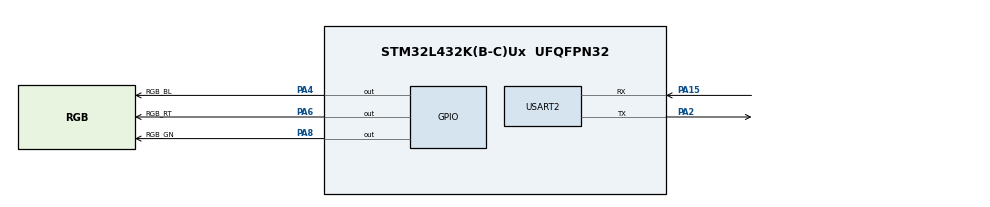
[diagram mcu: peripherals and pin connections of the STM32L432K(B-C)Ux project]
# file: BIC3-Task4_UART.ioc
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Mcu.Family=STM32L4
Mcu.Name=STM32L432K(B-C)Ux
Mcu.Package=UFQFPN32
NVIC.PriorityGroup=NVIC_PRIORITYGROUP_4
NVIC.USART2_IRQn=true\:0\:0\:false\:false\:true\:true\:true
PA15\ (JTDI).Mode=Asynchronous
PA15\ (JTDI).Signal=USART2_RX
PA2.Mode=Asynchronous
PA2.Signal=USART2_TX
PA4.GPIO_Label=RGB_BL
PA4.Signal=GPIO_Output
PA6.GPIO_Label=RGB_RT
PA6.Signal=GPIO_Output
PA8.GPIO_Label=RGB_GN
PA8.Signal=GPIO_Output
ProjectManager.HeapSize=0x200
ProjectManager.StackSize=0x400
ProjectManager.TargetToolchain=STM32CubeIDE
RCC.HSE_VALUE=8000000
RCC.HSI48_VALUE=48000000
RCC.HSI_VALUE=16000000
RCC.LSE_VALUE=32768
RCC.MSI_VALUE=4000000
RCC.VCOOutputFreq_Value=32000000
USART2.VirtualMode-Asynchronous=VM_ASYNC
board=custom

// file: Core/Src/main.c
/* USER CODE BEGIN Header */
/**
  ******************************************************************************
  * @file           : main.c
  * @brief          : Main program body
  ******************************************************************************
  * @attention
  *
  * <h2><center>&copy; Copyright (c) 2021 STMicroelectronics.
  * All rights reserved.</center></h2>
  *
  * This software component is licensed by ST under BSD 3-Clause license,
  * the "License"; You may not use this file except in compliance with the
  * License. You may obtain a copy of the License at:
  *                        opensource.org/licenses/BSD-3-Clause
  *
  ******************************************************************************
  */
/* USER CODE END Header */
#include "main.h"

/* USER CODE BEGIN Includes */
#include "string.h"
#include "mylib_serialprot.h"
/* USER CODE END Includes */

/* USER CODE BEGIN PD */
#define RxBuffer_SIZE 1
/* USER CODE END PD */

UART_HandleTypeDef huart2;

/* USER CODE BEGIN PV */
SERIALPROTOCOL_TypeDef hserialprot;

// Deklarieren und initialisieren des Ein-Zeichen-Empfangsbuffers
uint8_t RxBuffer[RxBuffer_SIZE]={0};
/* USER CODE END PV */

void SystemClock_Config(void);
static void MX_GPIO_Init(void);
static void MX_USART2_UART_Init(void);

int main(void)
{

  /* MCU Configuration--------------------------------------------------------*/

  /* Reset of all peripherals, Initializes the Flash interface and the Systick. */
  HAL_Init();

  /* Configure the system clock */
  SystemClock_Config();

  /* Initialize all configured peripherals */
  MX_GPIO_Init();
  MX_USART2_UART_Init();
  /* USER CODE BEGIN 2 */
  HAL_UART_Receive_IT(&huart2, RxBuffer, RxBuffer_SIZE);

  HAL_GPIO_WritePin(RGB_BL_GPIO_Port, RGB_BL_Pin, GPIO_PIN_SET);
  HAL_GPIO_WritePin(RGB_RT_GPIO_Port, RGB_RT_Pin, GPIO_PIN_SET);
  HAL_GPIO_WritePin(RGB_GN_GPIO_Port, RGB_GN_Pin, GPIO_PIN_SET);

  /* USER CODE END 2 */

  /* Infinite loop */
  while (1)
  {

  }
}

void SystemClock_Config(void)
{
  RCC_OscInitTypeDef RCC_OscInitStruct = {0};
  RCC_ClkInitTypeDef RCC_ClkInitStruct = {0};

  /** Configure the main internal regulator output voltage
  */
  if (HAL_PWREx_ControlVoltageScaling(PWR_REGULATOR_VOLTAGE_SCALE1) != HAL_OK)
  {
    Error_Handler();
  }
  /** Initializes the RCC Oscillators according to the specified parameters
  * in the RCC_OscInitTypeDef structure.
  */
  RCC_OscInitStruct.OscillatorType = RCC_OSCILLATORTYPE_MSI;
  RCC_OscInitStruct.MSIState = RCC_MSI_ON;
  RCC_OscInitStruct.MSICalibrationValue = 0;
  RCC_OscInitStruct.MSIClockRange = RCC_MSIRANGE_6;
  RCC_OscInitStruct.PLL.PLLState = RCC_PLL_NONE;
  if (HAL_RCC_OscConfig(&RCC_OscInitStruct) != HAL_OK)
  {
    Error_Handler();
  }
  /** Initializes the CPU, AHB and APB buses clocks
  */
  RCC_ClkInitStruct.ClockType = RCC_CLOCKTYPE_HCLK|RCC_CLOCKTYPE_SYSCLK
                              |RCC_CLOCKTYPE_PCLK1|RCC_CLOCKTYPE_PCLK2;
  RCC_ClkInitStruct.SYSCLKSource = RCC_SYSCLKSOURCE_MSI;
  RCC_ClkInitStruct.AHBCLKDivider = RCC_SYSCLK_DIV1;
  RCC_ClkInitStruct.APB1CLKDivider = RCC_HCLK_DIV1;
  RCC_ClkInitStruct.APB2CLKDivider = RCC_HCLK_DIV1;

  if (HAL_RCC_ClockConfig(&RCC_ClkInitStruct, FLASH_LATENCY_0) != HAL_OK)
  {
    Error_Handler();
  }
}

static void MX_USART2_UART_Init(void)
{

  huart2.Instance = USART2;
  huart2.Init.BaudRate = 115200;
  huart2.Init.WordLength = UART_WORDLENGTH_8B;
  huart2.Init.StopBits = UART_STOPBITS_1;
  huart2.Init.Parity = UART_PARITY_NONE;
  huart2.Init.Mode = UART_MODE_TX_RX;
  huart2.Init.HwFlowCtl = UART_HWCONTROL_NONE;
  huart2.Init.OverSampling = UART_OVERSAMPLING_16;
  huart2.Init.OneBitSampling = UART_ONE_BIT_SAMPLE_DISABLE;
  huart2.AdvancedInit.AdvFeatureInit = UART_ADVFEATURE_NO_INIT;
  if (HAL_UART_Init(&huart2) != HAL_OK)
  {
    Error_Handler();
  }

}

static void MX_GPIO_Init(void)
{
  GPIO_InitTypeDef GPIO_InitStruct = {0};

  /* GPIO Ports Clock Enable */
  __HAL_RCC_GPIOA_CLK_ENABLE();

  /*Configure GPIO pin Output Level */
  HAL_GPIO_WritePin(GPIOA, RGB_BL_Pin|RGB_RT_Pin|RGB_GN_Pin, GPIO_PIN_RESET);

  /*Configure GPIO pins : RGB_BL_Pin RGB_RT_Pin RGB_GN_Pin */
  GPIO_InitStruct.Pin = RGB_BL_Pin|RGB_RT_Pin|RGB_GN_Pin;
  GPIO_InitStruct.Mode = GPIO_MODE_OUTPUT_PP;
  GPIO_InitStruct.Pull = GPIO_NOPULL;
  GPIO_InitStruct.Speed = GPIO_SPEED_FREQ_LOW;
  HAL_GPIO_Init(GPIOA, &GPIO_InitStruct);

}

/* USER CODE BEGIN 4 */

/* UART-Callback wird nach jedem Zeichen aufgerufen */
void HAL_UART_RxCpltCallback(UART_HandleTypeDef *huart)
{
	/* Nachrichtenbuffer für die Konsolen-Nachricht */
	uint8_t exchangedMessage[50] ={0};

	/*
	 * MYLIB_SERIALPROT_XCHANGE -> Verarbeitet die eingegebenen Zeichen des UART und gibt das demenstspechende Ergebnis/Nachricht zurück
	 * hserialprot -> Objekt des Seriellen Protokolls
	 * RxBuffer -> Ein-Zeichen-Empfangspuffer
	 * exchangedMessage -> zurückgegebene Nachricht aufgrund der Eingaben von Rx bzw. auf der Konsole
	 * Die Verarbeitung erfolgt in der MyLibrary/mylib_serialprot-Bibliothek
	 */
	MYLIB_SERIALPROT_XCHANGE(&hserialprot,RxBuffer,exchangedMessage);

	/* exchangedMessage an Putty/Konsole senden */
	if(HAL_UART_Transmit(&huart2, exchangedMessage,(uint16_t)strlen(exchangedMessage), 100)!= HAL_OK){Error_Handler();}

	/* UART_Receive Interrupt aktivieren */
	if(HAL_UART_Receive_IT(&huart2, RxBuffer, RxBuffer_SIZE)!= HAL_OK){Error_Handler();}
}

/* Callback für GPIO-Commands, welche der User selbst definieren kann */
uint8_t SERIALPROT_Command_GPO_Callback(SERIALPROTOCOL_TypeDef *hserialprot)
{
	uint8_t ret=1;

	/* Prüfen ob das Kommando "gpo" mit dem Parameter 1 "gn" und dem Parameter 2 "on" eingegeben wurde um die blaue LED einzuschalten */
	if(__SERIALPROT_IS_COMMAND(hserialprot,"gpo","gn","on")){
		HAL_GPIO_WritePin(RGB_GN_GPIO_Port, RGB_GN_Pin, GPIO_PIN_RESET);
		ret=0;

	/* Prüfen ob das Kommando "gpo" mit dem Parameter 1 "gn" und dem Parameter 2 "on" eingegeben wurde um die blaue LED auszuschalten */
	}else if(__SERIALPROT_IS_COMMAND(hserialprot,"gpo","gn","off") ){
		HAL_GPIO_WritePin(RGB_GN_GPIO_Port, RGB_GN_Pin, GPIO_PIN_SET);
		ret=0;
	}

	/* Prüfen ob das Kommando "gpo" mit dem Parameter 1 "gn" und dem Parameter 2 "on" eingegeben wurde um die grüne LED einzuschalten */
	if(__SERIALPROT_IS_COMMAND(hserialprot,"gpo","bl","on")){
		HAL_GPIO_WritePin(RGB_BL_GPIO_Port, RGB_BL_Pin, GPIO_PIN_RESET);
		ret=0;

	/* Prüfen ob das Kommando "gpo" mit dem Parameter 1 "gn" und dem Parameter 2 "on" eingegeben wurde um die grüne LED auszuschalten */
	}else if(__SERIALPROT_IS_COMMAND(hserialprot,"gpo","bl","off")){
		HAL_GPIO_WritePin(RGB_BL_GPIO_Port, RGB_BL_Pin, GPIO_PIN_SET);
		ret=0;
	}

	/* Prüfen ob das Kommando "gpo" mit dem Parameter 1 "gn" und dem Parameter 2 "on" eingegeben wurde um die rote LED einzuschalten */
	if(__SERIALPROT_IS_COMMAND(hserialprot,"gpo","rt","on")){
		HAL_GPIO_WritePin(RGB_RT_GPIO_Port, RGB_RT_Pin, GPIO_PIN_RESET);
		ret=0;

	/* Prüfen ob das Kommando "gpo" mit dem Parameter 1 "gn" und dem Parameter 2 "on" eingegeben wurde um die rote LED auszuschalten */
	}else if(__SERIALPROT_IS_COMMAND(hserialprot,"gpo","rt","off")){
		HAL_GPIO_WritePin(RGB_RT_GPIO_Port, RGB_RT_Pin, GPIO_PIN_SET);
		ret=0;
	}

	/* Rückgabe des Abfrageergebnisses */
	return ret;
}
/* USER CODE END 4 */

void Error_Handler(void)
{
  __disable_irq();
  while (1)
  {
  }
}

/************************ (C) COPYRIGHT STMicroelectronics *****END OF FILE****/
